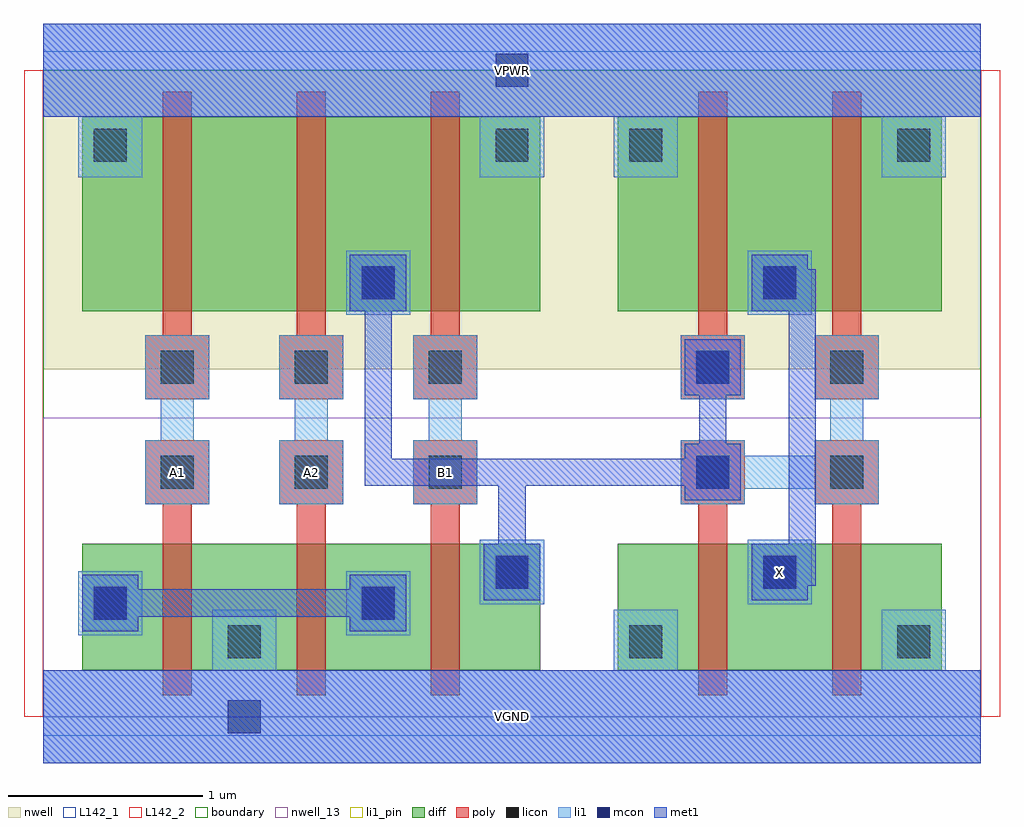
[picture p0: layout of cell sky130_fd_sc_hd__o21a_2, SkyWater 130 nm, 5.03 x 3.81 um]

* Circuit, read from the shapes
.subckt sky130_fd_sc_hd__o21a_2 A1 A2 B1 VGND VPWR X
XM1 VGND A1 n1 VSUBS sky130_fd_pr__nfet_01v8 w=0.65 l=0.15
XM2 n1 A2 VGND VSUBS sky130_fd_pr__nfet_01v8 w=0.65 l=0.15
XM3 n2 B1 n1 VSUBS sky130_fd_pr__nfet_01v8 w=0.65 l=0.15
XM4 X n2 VGND VSUBS sky130_fd_pr__nfet_01v8 w=0.65 l=0.15 m=2
XM5 n3 A1 VPWR n4 sky130_fd_pr__pfet_01v8 w=1 l=0.15
XM6 n2 A2 n3 n4 sky130_fd_pr__pfet_01v8 w=1 l=0.15
XM7 VPWR B1 n2 n4 sky130_fd_pr__pfet_01v8 w=1 l=0.15
XM8 X n2 VPWR n4 sky130_fd_pr__pfet_01v8 w=1 l=0.15 m=2
.ends

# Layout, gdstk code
import gdstk
lib = gdstk.Library(unit=1e-6, precision=1e-09)
def R(c, l, rs):  # rectangles x0, y0, x1, y1
    for r in rs: c.add(gdstk.rectangle(r[:2], r[2:], *l))
def A(c, l, x, y, w, h, nx, ny, dx, dy):  # array of equal rectangles
    R(c, l, [(x+i*dx, y+j*dy, x+i*dx+w, y+j*dy+h) for i in range(nx) for j in range(ny)])
def P(c, l, *ps):  # polygons
    for p in ps: c.add(gdstk.Polygon(p, *l))
nwell_13 = (64, 13)
nwell = (64, 20)
diff = (65, 20)
poly = (66, 20)
licon = (66, 44)
li1_pin = (67, 16)
li1 = (67, 20)
mcon = (67, 44)
met1 = (68, 20)
L142_1 = (142, 1)
L142_2 = (142, 2)
boundary = (235, 4)

sky130_fd_sc_hd__o21a_2 = lib.new_cell('sky130_fd_sc_hd__o21a_2')
R(sky130_fd_sc_hd__o21a_2, nwell_13, [(0,0,4.83,1.54)])
R(sky130_fd_sc_hd__o21a_2, nwell, [(0,1.79,4.83,3.33)])
R(sky130_fd_sc_hd__o21a_2, diff, [(0.2,0.24,2.56,0.89), (0.2,0.24,0.615,0.89), (0.615,0.24,1.305,0.89), (1.305,0.24,1.995,0.89), (1.995,0.24,2.56,0.89), (2.96,0.24,4.63,0.89), (2.96,0.24,3.375,0.89), (3.375,0.24,4.065,0.89), (4.065,0.24,4.63,0.89), (0.2,2.09,2.56,3.09), (0.2,2.09,0.615,3.09), (0.615,2.09,1.305,3.09), (1.305,2.09,1.995,3.09), (1.995,2.09,2.56,3.09), (2.96,2.09,4.63,3.09), (2.96,2.09,3.375,3.09), (3.375,2.09,4.065,3.09), (4.065,2.09,4.63,3.09)])
P(sky130_fd_sc_hd__o21a_2, poly, [(3.375,0.11),(3.375,1.095),(3.285,1.095),(3.285,1.425),(3.615,1.425),(3.615,1.095),(3.525,1.095),(3.525,0.11)],
  [(4.065,0.11),(4.065,1.095),(3.975,1.095),(3.975,1.425),(4.305,1.425),(4.305,1.095),(4.215,1.095),(4.215,0.11)],
  [(3.285,1.635),(3.285,1.965),(3.375,1.965),(3.375,3.22),(3.525,3.22),(3.525,1.965),(3.615,1.965),(3.615,1.635)],
  [(3.975,1.635),(3.975,1.965),(4.065,1.965),(4.065,3.22),(4.215,3.22),(4.215,1.965),(4.305,1.965),(4.305,1.635)],
  [(1.305,0.11),(1.305,1.095),(1.215,1.095),(1.215,1.425),(1.545,1.425),(1.545,1.095),(1.455,1.095),(1.455,0.11)],
  [(1.215,1.635),(1.215,1.965),(1.305,1.965),(1.305,3.22),(1.455,3.22),(1.455,1.965),(1.545,1.965),(1.545,1.635)],
  [(0.615,0.11),(0.615,1.095),(0.525,1.095),(0.525,1.425),(0.855,1.425),(0.855,1.095),(0.765,1.095),(0.765,0.11)],
  [(0.525,1.635),(0.525,1.965),(0.615,1.965),(0.615,3.22),(0.765,3.22),(0.765,1.965),(0.855,1.965),(0.855,1.635)],
  [(1.995,0.11),(1.995,1.095),(1.905,1.095),(1.905,1.425),(2.235,1.425),(2.235,1.095),(2.145,1.095),(2.145,0.11)],
  [(1.905,1.635),(1.905,1.965),(1.995,1.965),(1.995,3.22),(2.145,3.22),(2.145,1.965),(2.235,1.965),(2.235,1.635)])
A(sky130_fd_sc_hd__o21a_2, licon, 0.605, 1.175, 0.17, 0.17, 3, 2, 0.69, 0.54)
R(sky130_fd_sc_hd__o21a_2, licon, [(0.95,0.3,1.12,0.47), (3.02,0.3,3.19,0.47), (4.4,0.3,4.57,0.47), (0.26,0.5,0.43,0.67), (1.64,0.5,1.81,0.67), (2.33,0.66,2.5,0.83), (3.71,0.66,3.88,0.83), (3.365,1.175,3.535,1.345), (4.055,1.175,4.225,1.345), (3.365,1.715,3.535,1.885), (4.055,1.715,4.225,1.885), (1.64,2.15,1.81,2.32), (3.71,2.15,3.88,2.32), (0.26,2.86,0.43,3.03), (2.33,2.86,2.5,3.03), (3.02,2.86,3.19,3.03), (4.4,2.86,4.57,3.03)])
R(sky130_fd_sc_hd__o21a_2, li1_pin, [(0,-0.24,4.83,0.24), (3.63,0.58,3.96,0.91), (0,3.09,4.83,3.57)])
P(sky130_fd_sc_hd__o21a_2, li1_pin, [(1.905,1.095),(1.905,1.425),(1.985,1.425),(1.985,1.635),(1.905,1.635),(1.905,1.965),(2.235,1.965),(2.235,1.635),(2.155,1.635),(2.155,1.425),(2.235,1.425),(2.235,1.095)],
  [(1.215,1.095),(1.215,1.425),(1.295,1.425),(1.295,1.635),(1.215,1.635),(1.215,1.965),(1.545,1.965),(1.545,1.635),(1.465,1.635),(1.465,1.425),(1.545,1.425),(1.545,1.095)],
  [(0.525,1.095),(0.525,1.425),(0.605,1.425),(0.605,1.635),(0.525,1.635),(0.525,1.965),(0.855,1.965),(0.855,1.635),(0.775,1.635),(0.775,1.425),(0.855,1.425),(0.855,1.095)])
R(sky130_fd_sc_hd__o21a_2, li1, [(0.18,0.42,0.51,0.75), (1.56,0.42,1.89,0.75), (2.25,0.58,2.58,0.91), (3.63,0.58,3.96,0.91), (3.285,1.635,3.615,1.965), (1.56,2.07,1.89,2.4), (3.63,2.07,3.96,2.4)])
P(sky130_fd_sc_hd__o21a_2, li1, [(3.285,1.095),(3.285,1.425),(3.615,1.425),(3.615,1.345),(3.975,1.345),(3.975,1.425),(4.055,1.425),(4.055,1.635),(3.975,1.635),(3.975,1.965),(4.305,1.965),(4.305,1.635),(4.225,1.635),(4.225,1.425),(4.305,1.425),(4.305,1.095),(3.975,1.095),(3.975,1.175),(3.615,1.175),(3.615,1.095)],
  [(1.215,1.095),(1.215,1.425),(1.295,1.425),(1.295,1.635),(1.215,1.635),(1.215,1.965),(1.545,1.965),(1.545,1.635),(1.465,1.635),(1.465,1.425),(1.545,1.425),(1.545,1.095)],
  [(0.18,2.78),(0.18,3.09),(0,3.09),(0,3.57),(4.83,3.57),(4.83,3.09),(4.65,3.09),(4.65,2.78),(4.32,2.78),(4.32,3.09),(3.27,3.09),(3.27,2.78),(2.94,2.78),(2.94,3.09),(2.58,3.09),(2.58,2.78),(2.25,2.78),(2.25,3.09),(0.51,3.09),(0.51,2.78)],
  [(0.525,1.095),(0.525,1.425),(0.605,1.425),(0.605,1.635),(0.525,1.635),(0.525,1.965),(0.855,1.965),(0.855,1.635),(0.775,1.635),(0.775,1.425),(0.855,1.425),(0.855,1.095)],
  [(0,-0.24),(0,0.24),(0.87,0.24),(0.87,0.55),(1.2,0.55),(1.2,0.24),(2.94,0.24),(2.94,0.55),(3.27,0.55),(3.27,0.24),(4.32,0.24),(4.32,0.55),(4.65,0.55),(4.65,0.24),(4.83,0.24),(4.83,-0.24)],
  [(1.905,1.095),(1.905,1.425),(1.985,1.425),(1.985,1.635),(1.905,1.635),(1.905,1.965),(2.235,1.965),(2.235,1.635),(2.155,1.635),(2.155,1.425),(2.235,1.425),(2.235,1.095)])
R(sky130_fd_sc_hd__o21a_2, mcon, [(0.95,-0.085,1.12,0.085), (0.26,0.5,0.43,0.67), (1.64,0.5,1.81,0.67), (2.33,0.66,2.5,0.83), (3.71,0.66,3.88,0.83), (3.365,1.175,3.535,1.345), (3.365,1.715,3.535,1.885), (1.64,2.15,1.81,2.32), (3.71,2.15,3.88,2.32), (2.33,3.245,2.5,3.415)])
R(sky130_fd_sc_hd__o21a_2, met1, [(0,-0.24,4.83,0.24), (0,3.09,4.83,3.57)])
P(sky130_fd_sc_hd__o21a_2, met1, [(2.27,0.6),(2.27,0.89),(2.345,0.89),(2.345,1.19),(1.655,1.19),(1.655,2.09),(1.58,2.09),(1.58,2.38),(1.87,2.38),(1.87,2.09),(1.795,2.09),(1.795,1.33),(3.305,1.33),(3.305,1.405),(3.38,1.405),(3.38,1.655),(3.305,1.655),(3.305,1.945),(3.595,1.945),(3.595,1.655),(3.52,1.655),(3.52,1.405),(3.595,1.405),(3.595,1.115),(3.305,1.115),(3.305,1.19),(2.485,1.19),(2.485,0.89),(2.56,0.89),(2.56,0.6)],
  [(0.2,0.44),(0.2,0.73),(0.49,0.73),(0.49,0.655),(1.58,0.655),(1.58,0.73),(1.87,0.73),(1.87,0.44),(1.58,0.44),(1.58,0.515),(0.49,0.515),(0.49,0.44)],
  [(3.65,0.6),(3.65,0.89),(3.84,0.89),(3.84,2.09),(3.65,2.09),(3.65,2.38),(3.94,2.38),(3.94,2.305),(3.98,2.305),(3.98,0.675),(3.94,0.675),(3.94,0.6)])
R(sky130_fd_sc_hd__o21a_2, L142_1, [(0,-0.1,4.83,0), (0,3.33,4.83,3.43)])
R(sky130_fd_sc_hd__o21a_2, L142_2, [(-0.1,0,0,3.33), (4.83,0,4.93,3.33)])
R(sky130_fd_sc_hd__o21a_2, boundary, [(0,0,4.83,3.33)])
sky130_fd_sc_hd__o21a_2.add(gdstk.Label('X', (3.795,0.745), layer=67, texttype=5))
sky130_fd_sc_hd__o21a_2.add(gdstk.Label('B1', (2.07,1.26), layer=67, texttype=5))
sky130_fd_sc_hd__o21a_2.add(gdstk.Label('A2', (1.38,1.26), layer=67, texttype=5))
sky130_fd_sc_hd__o21a_2.add(gdstk.Label('A1', (0.69,1.26), layer=67, texttype=5))
sky130_fd_sc_hd__o21a_2.add(gdstk.Label('VGND', (2.415,0), layer=67, texttype=5))
sky130_fd_sc_hd__o21a_2.add(gdstk.Label('VPWR', (2.415,3.33), layer=67, texttype=5))
sky130_fd_sc_hd__o21a_2.add(gdstk.Label('VGND', (2.415,0), layer=68, texttype=5))
sky130_fd_sc_hd__o21a_2.add(gdstk.Label('VPWR', (2.415,3.33), layer=68, texttype=5))

lib.write_gds('sky130_fd_sc_hd__o21a_2.gds')
